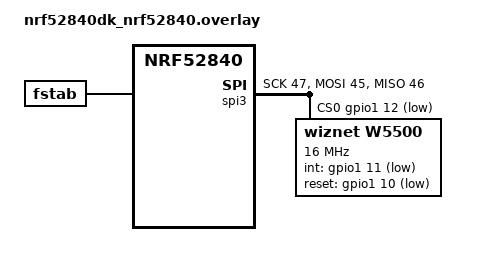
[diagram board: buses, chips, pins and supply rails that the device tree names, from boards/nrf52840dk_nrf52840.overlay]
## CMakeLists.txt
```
# Copyright (c) 2022 Cesanta Software Limited
# Mail: support@cesanta.com
#
# SPDX-License-Identifier: GPL2.0 or commercial

cmake_minimum_required(VERSION 3.20.0)
find_package(Zephyr REQUIRED HINTS $ENV{ZEPHYR_BASE})

project(http_server)

#add_definitions(-DMG_ENABLE_LINES=1)
add_definitions(-DMG_ENABLE_SSI=0)
add_definitions(-DMG_ENABLE_PACKED_FS=1)
add_definitions(-DMG_ENABLE_MBEDTLS=1)
add_definitions(-DMG_ENABLE_FILE=0)

include_directories(../../../)
zephyr_include_directories(${APPLICATION_SOURCE_DIR}/src/)
target_sources(app PRIVATE src/main.c ../../../mongoose.c)
```

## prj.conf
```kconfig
CONFIG_NETWORKING=y
CONFIG_NET_IPV4=y
CONFIG_NET_IPV6=y
CONFIG_NET_TCP=y
CONFIG_NET_UDP=y
CONFIG_NET_DHCPV4=y
CONFIG_NET_SOCKETS=y
CONFIG_MINIMAL_LIBC_MALLOC_ARENA_SIZE=32756
CONFIG_NET_LOG=y
CONFIG_LOG=y
#CONFIG_NET_TX_STACK_SIZE=2048
#CONFIG_NET_RX_STACK_SIZE=2048
CONFIG_ISR_STACK_SIZE=2048
CONFIG_MAIN_STACK_SIZE=8192
CONFIG_IDLE_STACK_SIZE=1024

CONFIG_NET_CONFIG_SETTINGS=y

# W5500 Ethernet
CONFIG_SPI=y
CONFIG_NET_L2_ETHERNET=y
CONFIG_ETH_W5500=y

CONFIG_NET_SOCKETS_POLL_MAX=20

CONFIG_NEWLIB_LIBC=y

# MbedTLS
CONFIG_MBEDTLS=y
CONFIG_MBEDTLS_ENTROPY_ENABLED=y
CONFIG_MBEDTLS_TLS_VERSION_1_2=y
CONFIG_MBEDTLS_DTLS=y
CONFIG_MBEDTLS_SSL_ALPN=y
CONFIG_MBEDTLS_ECP_ALL_ENABLED=y
CONFIG_MBEDTLS_KEY_EXCHANGE_ECDH_ECDSA_ENABLED=y
CONFIG_MBEDTLS_KEY_EXCHANGE_ECDHE_ECDSA_ENABLED=y
CONFIG_MBEDTLS_PEM_CERTIFICATE_FORMAT=y
CONFIG_MBEDTLS_CIPHER_ALL_ENABLED=y
CONFIG_MBEDTLS_MAC_ALL_ENABLED=y
CONFIG_MBEDTLS_USER_CONFIG_ENABLE=y
CONFIG_MBEDTLS_USER_CONFIG_FILE="tls_custom.h"
```

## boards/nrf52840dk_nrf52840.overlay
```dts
/*
 * Copyright (c) 2022 Pengxiang Gao
 *
 * SPDX-License-Identifier: Apache-2.0
 */

/delete-node/ &storage_partition;

&spi3 {
    status = "okay";
	sck-pin = <47>;
	miso-pin = <46>;
	mosi-pin = <45>;
    cs-gpios = <&gpio1 12 GPIO_ACTIVE_LOW>;

    spi_w5500: w5500@0 {
        compatible = "wiznet,w5500";
        label = "w5500";
        reg = <0x0>;
        spi-max-frequency = <16000000>;
        int-gpios = <&gpio1 11 GPIO_ACTIVE_LOW>;
        reset-gpios = <&gpio1 10 GPIO_ACTIVE_LOW>;
    };
};

&flash0 {
	partitions {
		storage_partition: partition@f8000 {
			label = "storage";
			reg = <0x000f8000 0x00001000>;
		};

		lfs1_part: partition@f9000 {
			label = "littlefs_storage";
			reg = <0x000f9000 0x00007000>;
		};
	};
};

/ {
	fstab {
		compatible = "zephyr,fstab";
		lfs1: lfs1 {
			compatible = "zephyr,fstab,littlefs";
			mount-point = "/lfs1";
			partition = <&lfs1_part>;
			automount;
			read-size = <16>;
			prog-size = <16>;
			cache-size = <64>;
			lookahead-size = <32>;
			block-cycles = <512>;
		};
	};
};
```

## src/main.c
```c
// Copyright (c) 2020 Cesanta Software Limited
// All rights reserved

#include "mongoose.h"
#include "server_pem.h"
#include "server_key_pem.h"
#include <logging/log.h>
LOG_MODULE_REGISTER(webserver, CONFIG_LOG_DEFAULT_LEVEL);

static const char *s_debug_level = "3";
static const char *s_root_dir = ".";
static const char *s_listening_address = "https://0.0.0.0:443";
static time_t s_boot_timestamp = 0;
static struct mg_connection *s_sntp_conn = NULL;

#define CERT_FILENAME     "server.pem"
#define CERT_KEY_FILENAME "server-key.pem"

typedef struct embedded_file_t {
  const char *filename;
  uint8_t *data;
  uint32_t size;
} embedded_file_t;

#define EMBEDDED_FS_FILE_SIZE (2)
embedded_file_t embedded_fs_files[EMBEDDED_FS_FILE_SIZE];

void init_embedded_fs(void) {
  embedded_fs_files[0].filename = "server.pem";
  embedded_fs_files[0].data     = server_pem;
  embedded_fs_files[0].size     = server_pem_len;
  embedded_fs_files[1].filename = "server-key.pem";
  embedded_fs_files[1].data     = server_key_pem;
  embedded_fs_files[1].size     = server_key_pem_len;
}

int get_embedded_file_index(const char *path) {
  for (int i = 0; i < EMBEDDED_FS_FILE_SIZE; i++) {
    if (strcmp(path, embedded_fs_files[i].filename) == 0) {
      return i;
    }
  }
  return -1;
}

struct embedded_file {
  const char *data;
  size_t size;
  size_t pos;
};

static int embedded_stat(const char *path, size_t *size, time_t *mtime) {
  int index = get_embedded_file_index(path);
  if (index >= 0) {
    *size = embedded_fs_files[index].size;
    return 0;
  }
  return -EINVAL;
}

static void embedded_list(const char *dir, void (*fn)(const char *, void *),
                        void *userdata) {
  (void) dir, (void) fn, (void) userdata;
}

static void *embedded_open(const char *path, int flags) {
  struct embedded_file *fp = NULL;
  int index = get_embedded_file_index(path);
  if (index < 0) return fp;
  fp = (struct embedded_file *) calloc(1, sizeof(*fp));
  fp->size = embedded_fs_files[index].size;
  fp->data = embedded_fs_files[index].data;
  return (void *) fp;
}

static void embedded_close(void *fp) {
  if (fp != NULL) free(fp);
}

static size_t embedded_read(void *fd, void *buf, size_t len) {
  struct embedded_file *fp = (struct embedded_file *) fd;
  if (fp->pos + len > fp->size) len = fp->size - fp->pos;
  memcpy(buf, &fp->data[fp->pos], len);
  fp->pos += len;
  return len;
}

static size_t embedded_write(void *fd, const void *buf, size_t len) {
  (void) fd, (void) buf, (void) len;
  return 0;
}

static size_t embedded_seek(void *fd, size_t offset) {
  struct embedded_file *fp = (struct embedded_file *) fd;
  fp->pos = offset;
  if (fp->pos > fp->size) fp->pos = fp->size;
  return fp->pos;
}

static bool embedded_rename(const char *from, const char *to) {
  (void) from, (void) to;
  return false;
}

static bool embedded_remove(const char *path) {
  (void) path;
  return false;
}

static bool embedded_mkdir(const char *path) {
  (void) path;
  return false;
}

struct mg_fs mg_fs_embeded = {
    embedded_stat,  embedded_list, embedded_open,   embedded_close,  embedded_read,
    embedded_write, embedded_seek, embedded_rename, embedded_remove, embedded_mkdir};

// Event handler for the listening connection.
// Simply serve static files from `s_root_dir`
static void cb(struct mg_connection *c, int ev, void *ev_data, void *fn_data) {
  if (ev == MG_EV_ACCEPT) {
    struct mg_tls_opts opts = {
        .cert = CERT_FILENAME,     // Certificate PEM file
        .certkey = CERT_KEY_FILENAME,  // This pem contains both cert and key
        .fs = &mg_fs_embeded,
    };
    mg_tls_init(c, &opts);
  }
  else if (ev == MG_EV_HTTP_MSG)
  {
      struct mg_http_message *hm = (struct mg_http_message *) ev_data;

      // Test API
      if (mg_http_match_uri(hm, "/api/test/set/*")) {
          uint8_t val = atoi(hm->uri.ptr + strlen("/api/test/set/"));
          LOG_DBG("air_flow uri val: %.*s, parsed val: %d", (int)hm->uri.len, hm->uri.ptr, val);
          mg_printf(c, "%s", "HTTP/1.1 200 OK\r\nContent-Length: 0\r\n\r\n");
      } else if (mg_http_match_uri(hm, "/api/test/get")) {
          mg_http_reply(c, 200, "", "{\"result\": \"%d\"}\n", 1);
      } else {
        mg_http_reply(c, 200, NULL, "hi\n");
      }
  } else if (ev == MG_EV_OPEN) {
    c->is_hexdumping = 1;
  }
  (void) fn_data;
}

// We have no valid system time(), and we need it for TLS. Implement it
time_t time(time_t *tp) {
  time_t t = s_boot_timestamp + k_uptime_get() / 1000;
  if (tp != NULL) *tp = t;
  return t;
}

static void sfn(struct mg_connection *c, int ev, void *ev_data, void *fn_data) {
  if (ev == MG_EV_SNTP_TIME) {
    int64_t t = *(int64_t *) ev_data;
    MG_INFO(("Got SNTP time: %lld ms from epoch", t));
    s_boot_timestamp = (time_t) ((t - mg_millis()) / 1000);
  } else if (ev == MG_EV_CLOSE) {
    s_sntp_conn = NULL;
  }
}

static void timer_fn(void *arg) {
  struct mg_mgr *mgr = (struct mg_mgr *) arg;
  return;
  if (s_sntp_conn == NULL) s_sntp_conn = mg_sntp_connect(mgr, NULL, sfn, NULL);
  if (s_boot_timestamp < 9999) mg_sntp_send(s_sntp_conn, time(NULL));
}

static void logfn(const void *ptr, size_t len, void *userdata) {
  printk("%.*s", (int) len, (char *) ptr);
}

int main(int argc, char *argv[]) {
  struct mg_mgr mgr;

  init_embedded_fs();

  mg_log_set(s_debug_level);
  mg_log_set_callback(logfn, NULL);

  mg_mgr_init(&mgr);
  mg_http_listen(&mgr, s_listening_address, cb, &mgr);

  // struct mg_timer t;
  // mg_timer_init(&t, 5000, MG_TIMER_REPEAT | MG_TIMER_RUN_NOW, timer_fn, &mgr);

  // Start infinite event loop
  MG_INFO(("Mongoose version : v%s", MG_VERSION));
  MG_INFO(("Listening on     : %s", s_listening_address));
  MG_INFO(("Web root         : [%s]", s_root_dir));
  for (;;) mg_mgr_poll(&mgr, 1000);
  mg_mgr_free(&mgr);
  return 0;
}
```

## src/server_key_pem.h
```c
unsigned char server_key_pem[] = {
  0x2d, 0x2d, 0x2d, 0x2d, 0x2d, 0x42, 0x45, 0x47, 0x49, 0x4e, 0x20, 0x45,
  0x43, 0x20, 0x50, 0x52, 0x49, 0x56, 0x41, 0x54, 0x45, 0x20, 0x4b, 0x45,
  0x59, 0x2d, 0x2d, 0x2d, 0x2d, 0x2d, 0x0d, 0x0a, 0x4d, 0x48, 0x63, 0x43,
  0x41, 0x51, 0x45, 0x45, 0x49, 0x41, 0x35, 0x64, 0x4a, 0x45, 0x41, 0x76,
  0x4b, 0x44, 0x4b, 0x49, 0x42, 0x73, 0x6b, 0x73, 0x57, 0x55, 0x4e, 0x79,
  0x71, 0x59, 0x67, 0x76, 0x58, 0x5a, 0x58, 0x53, 0x2f, 0x39, 0x44, 0x4b,
  0x64, 0x73, 0x6e, 0x78, 0x2f, 0x36, 0x43, 0x48, 0x46, 0x44, 0x2b, 0x75,
  0x6f, 0x41, 0x6f, 0x47, 0x43, 0x43, 0x71, 0x47, 0x53, 0x4d, 0x34, 0x39,
  0x0d, 0x0a, 0x41, 0x77, 0x45, 0x48, 0x6f, 0x55, 0x51, 0x44, 0x51, 0x67,
  0x41, 0x45, 0x48, 0x54, 0x31, 0x4e, 0x7a, 0x4e, 0x64, 0x50, 0x42, 0x51,
  0x52, 0x61, 0x78, 0x49, 0x4d, 0x74, 0x4a, 0x4d, 0x34, 0x6f, 0x45, 0x77,
  0x63, 0x77, 0x52, 0x4b, 0x2b, 0x45, 0x35, 0x30, 0x34, 0x49, 0x62, 0x5a,
  0x35, 0x33, 0x61, 0x43, 0x4c, 0x79, 0x77, 0x4e, 0x6b, 0x65, 0x53, 0x78,
  0x6d, 0x71, 0x75, 0x72, 0x57, 0x6f, 0x0d, 0x0a, 0x72, 0x74, 0x35, 0x2b,
  0x7a, 0x61, 0x70, 0x43, 0x5a, 0x71, 0x6f, 0x4d, 0x31, 0x68, 0x54, 0x37,
  0x6b, 0x68, 0x36, 0x38, 0x5a, 0x79, 0x36, 0x33, 0x57, 0x5a, 0x6a, 0x34,
  0x58, 0x49, 0x62, 0x53, 0x6f, 0x41, 0x3d, 0x3d, 0x0d, 0x0a, 0x2d, 0x2d,
  0x2d, 0x2d, 0x2d, 0x45, 0x4e, 0x44, 0x20, 0x45, 0x43, 0x20, 0x50, 0x52,
  0x49, 0x56, 0x41, 0x54, 0x45, 0x20, 0x4b, 0x45, 0x59, 0x2d, 0x2d, 0x2d,
  0x2d, 0x2d, 0x0d, 0x0a
};
unsigned int server_key_pem_len = 232;
```

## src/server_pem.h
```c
unsigned char server_pem[] = {
  0x2d, 0x2d, 0x2d, 0x2d, 0x2d, 0x42, 0x45, 0x47, 0x49, 0x4e, 0x20, 0x43,
  0x45, 0x52, 0x54, 0x49, 0x46, 0x49, 0x43, 0x41, 0x54, 0x45, 0x2d, 0x2d,
  0x2d, 0x2d, 0x2d, 0x0d, 0x0a, 0x4d, 0x49, 0x49, 0x43, 0x48, 0x6a, 0x43,
  0x43, 0x41, 0x63, 0x57, 0x67, 0x41, 0x77, 0x49, 0x42, 0x41, 0x67, 0x49,
  0x55, 0x4e, 0x73, 0x4c, 0x62, 0x58, 0x6f, 0x4f, 0x41, 0x38, 0x7a, 0x35,
  0x4b, 0x42, 0x63, 0x74, 0x76, 0x47, 0x54, 0x6d, 0x78, 0x53, 0x35, 0x56,
  0x67, 0x52, 0x4d, 0x67, 0x77, 0x43, 0x67, 0x59, 0x49, 0x4b, 0x6f, 0x5a,
  0x49, 0x7a, 0x6a, 0x30, 0x45, 0x41, 0x77, 0x49, 0x77, 0x0d, 0x0a, 0x63,
  0x6a, 0x45, 0x4c, 0x4d, 0x41, 0x6b, 0x47, 0x41, 0x31, 0x55, 0x45, 0x42,
  0x68, 0x4d, 0x43, 0x51, 0x30, 0x34, 0x78, 0x43, 0x7a, 0x41, 0x4a, 0x42,
  0x67, 0x4e, 0x56, 0x42, 0x41, 0x67, 0x4d, 0x41, 0x6b, 0x78, 0x4f, 0x4d,
  0x51, 0x73, 0x77, 0x43, 0x51, 0x59, 0x44, 0x56, 0x51, 0x51, 0x48, 0x44,
  0x41, 0x4a, 0x45, 0x52, 0x44, 0x45, 0x4e, 0x4d, 0x41, 0x73, 0x47, 0x41,
  0x31, 0x55, 0x45, 0x0d, 0x0a, 0x43, 0x67, 0x77, 0x45, 0x54, 0x6e, 0x56,
  0x74, 0x59, 0x54, 0x45, 0x4e, 0x4d, 0x41, 0x73, 0x47, 0x41, 0x31, 0x55,
  0x45, 0x43, 0x77, 0x77, 0x45, 0x54, 0x6e, 0x56, 0x74, 0x59, 0x54, 0x45,
  0x4e, 0x4d, 0x41, 0x73, 0x47, 0x41, 0x31, 0x55, 0x45, 0x41, 0x77, 0x77,
  0x45, 0x54, 0x6e, 0x56, 0x74, 0x59, 0x54, 0x45, 0x63, 0x4d, 0x42, 0x6f,
  0x47, 0x43, 0x53, 0x71, 0x47, 0x53, 0x49, 0x62, 0x33, 0x0d, 0x0a, 0x44,
  0x51, 0x45, 0x4a, 0x41, 0x52, 0x59, 0x4e, 0x64, 0x47, 0x56, 0x7a, 0x64,
  0x45, 0x42, 0x75, 0x64, 0x57, 0x31, 0x68, 0x4c, 0x6d, 0x4e, 0x76, 0x62,
  0x54, 0x41, 0x65, 0x46, 0x77, 0x30, 0x79, 0x4d, 0x6a, 0x41, 0x7a, 0x4d,
  0x6a, 0x41, 0x78, 0x4f, 0x54, 0x45, 0x30, 0x4d, 0x54, 0x52, 0x61, 0x46,
  0x77, 0x30, 0x79, 0x4e, 0x44, 0x41, 0x32, 0x4d, 0x6a, 0x49, 0x78, 0x4f,
  0x54, 0x45, 0x30, 0x0d, 0x0a, 0x4d, 0x54, 0x52, 0x61, 0x4d, 0x45, 0x55,
  0x78, 0x43, 0x7a, 0x41, 0x4a, 0x42, 0x67, 0x4e, 0x56, 0x42, 0x41, 0x59,
  0x54, 0x41, 0x6b, 0x46, 0x56, 0x4d, 0x52, 0x4d, 0x77, 0x45, 0x51, 0x59,
  0x44, 0x56, 0x51, 0x51, 0x49, 0x44, 0x41, 0x70, 0x54, 0x62, 0x32, 0x31,
  0x6c, 0x4c, 0x56, 0x4e, 0x30, 0x59, 0x58, 0x52, 0x6c, 0x4d, 0x53, 0x45,
  0x77, 0x48, 0x77, 0x59, 0x44, 0x56, 0x51, 0x51, 0x4b, 0x0d, 0x0a, 0x44,
  0x42, 0x68, 0x4a, 0x62, 0x6e, 0x52, 0x6c, 0x63, 0x6d, 0x35, 0x6c, 0x64,
  0x43, 0x42, 0x58, 0x61, 0x57, 0x52, 0x6e, 0x61, 0x58, 0x52, 0x7a, 0x49,
  0x46, 0x42, 0x30, 0x65, 0x53, 0x42, 0x4d, 0x64, 0x47, 0x51, 0x77, 0x57,
  0x54, 0x41, 0x54, 0x42, 0x67, 0x63, 0x71, 0x68, 0x6b, 0x6a, 0x4f, 0x50,
  0x51, 0x49, 0x42, 0x42, 0x67, 0x67, 0x71, 0x68, 0x6b, 0x6a, 0x4f, 0x50,
  0x51, 0x4d, 0x42, 0x0d, 0x0a, 0x42, 0x77, 0x4e, 0x43, 0x41, 0x41, 0x51,
  0x64, 0x50, 0x55, 0x33, 0x4d, 0x31, 0x30, 0x38, 0x46, 0x42, 0x46, 0x72,
  0x45, 0x67, 0x79, 0x30, 0x6b, 0x7a, 0x69, 0x67, 0x54, 0x42, 0x7a, 0x42,
  0x45, 0x72, 0x34, 0x54, 0x6e, 0x54, 0x67, 0x68, 0x74, 0x6e, 0x6e, 0x64,
  0x6f, 0x49, 0x76, 0x4c, 0x41, 0x32, 0x52, 0x35, 0x4c, 0x47, 0x61, 0x71,
  0x36, 0x74, 0x61, 0x69, 0x75, 0x33, 0x6e, 0x37, 0x4e, 0x0d, 0x0a, 0x71,
  0x6b, 0x4a, 0x6d, 0x71, 0x67, 0x7a, 0x57, 0x46, 0x50, 0x75, 0x53, 0x48,
  0x72, 0x78, 0x6e, 0x4c, 0x72, 0x64, 0x5a, 0x6d, 0x50, 0x68, 0x63, 0x68,
  0x74, 0x4b, 0x67, 0x6f, 0x32, 0x59, 0x77, 0x5a, 0x44, 0x41, 0x66, 0x42,
  0x67, 0x4e, 0x56, 0x48, 0x53, 0x4d, 0x45, 0x47, 0x44, 0x41, 0x57, 0x67,
  0x42, 0x51, 0x7a, 0x72, 0x69, 0x39, 0x38, 0x66, 0x41, 0x4b, 0x44, 0x4a,
  0x33, 0x7a, 0x4d, 0x0d, 0x0a, 0x71, 0x46, 0x4d, 0x5a, 0x7a, 0x4b, 0x35,
  0x68, 0x78, 0x47, 0x71, 0x73, 0x57, 0x7a, 0x41, 0x4a, 0x42, 0x67, 0x4e,
  0x56, 0x48, 0x52, 0x4d, 0x45, 0x41, 0x6a, 0x41, 0x41, 0x4d, 0x41, 0x73,
  0x47, 0x41, 0x31, 0x55, 0x64, 0x44, 0x77, 0x51, 0x45, 0x41, 0x77, 0x49,
  0x45, 0x38, 0x44, 0x41, 0x70, 0x42, 0x67, 0x4e, 0x56, 0x48, 0x52, 0x45,
  0x45, 0x49, 0x6a, 0x41, 0x67, 0x67, 0x67, 0x38, 0x78, 0x0d, 0x0a, 0x4f,
  0x54, 0x49, 0x75, 0x4d, 0x54, 0x59, 0x34, 0x4c, 0x6a, 0x45, 0x77, 0x4d,
  0x53, 0x34, 0x79, 0x4d, 0x54, 0x47, 0x43, 0x44, 0x54, 0x45, 0x35, 0x4d,
  0x69, 0x34, 0x78, 0x4e, 0x6a, 0x67, 0x75, 0x4d, 0x54, 0x41, 0x78, 0x4c,
  0x69, 0x6f, 0x77, 0x43, 0x67, 0x59, 0x49, 0x4b, 0x6f, 0x5a, 0x49, 0x7a,
  0x6a, 0x30, 0x45, 0x41, 0x77, 0x49, 0x44, 0x52, 0x77, 0x41, 0x77, 0x52,
  0x41, 0x49, 0x67, 0x0d, 0x0a, 0x4e, 0x73, 0x71, 0x4f, 0x78, 0x53, 0x71,
  0x4a, 0x44, 0x77, 0x70, 0x57, 0x76, 0x35, 0x45, 0x36, 0x7a, 0x34, 0x68,
  0x4c, 0x66, 0x32, 0x6e, 0x4d, 0x46, 0x68, 0x38, 0x30, 0x70, 0x45, 0x52,
  0x4e, 0x39, 0x44, 0x6b, 0x52, 0x67, 0x52, 0x75, 0x36, 0x41, 0x4c, 0x34,
  0x43, 0x49, 0x47, 0x46, 0x73, 0x39, 0x4f, 0x37, 0x68, 0x73, 0x6d, 0x4e,
  0x77, 0x42, 0x4c, 0x72, 0x2b, 0x55, 0x77, 0x31, 0x54, 0x0d, 0x0a, 0x35,
  0x47, 0x4b, 0x59, 0x6a, 0x7a, 0x78, 0x39, 0x71, 0x79, 0x45, 0x4a, 0x4b,
  0x71, 0x58, 0x4a, 0x73, 0x62, 0x38, 0x62, 0x37, 0x71, 0x49, 0x5a, 0x0d,
  0x0a, 0x2d, 0x2d, 0x2d, 0x2d, 0x2d, 0x45, 0x4e, 0x44, 0x20, 0x43, 0x45,
  0x52, 0x54, 0x49, 0x46, 0x49, 0x43, 0x41, 0x54, 0x45, 0x2d, 0x2d, 0x2d,
  0x2d, 0x2d, 0x0d, 0x0a
};
unsigned int server_pem_len = 808;
```

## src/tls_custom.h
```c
#ifndef __CONFIG_TLS_MG_CUSTOM_H__

// #define MBEDTLS_DEBUG_C
#define MBEDTLS_X509_CRL_PARSE_C
// #define MBEDTLS_SSL_DEBUG_ALL
// #define MBEDTLS_SSL_SRV_C
// #define MBEDTLS_SSL_CLI_C

#endif /* __CONFIG_TLS_MG_CUSTOM_H__ */
```
